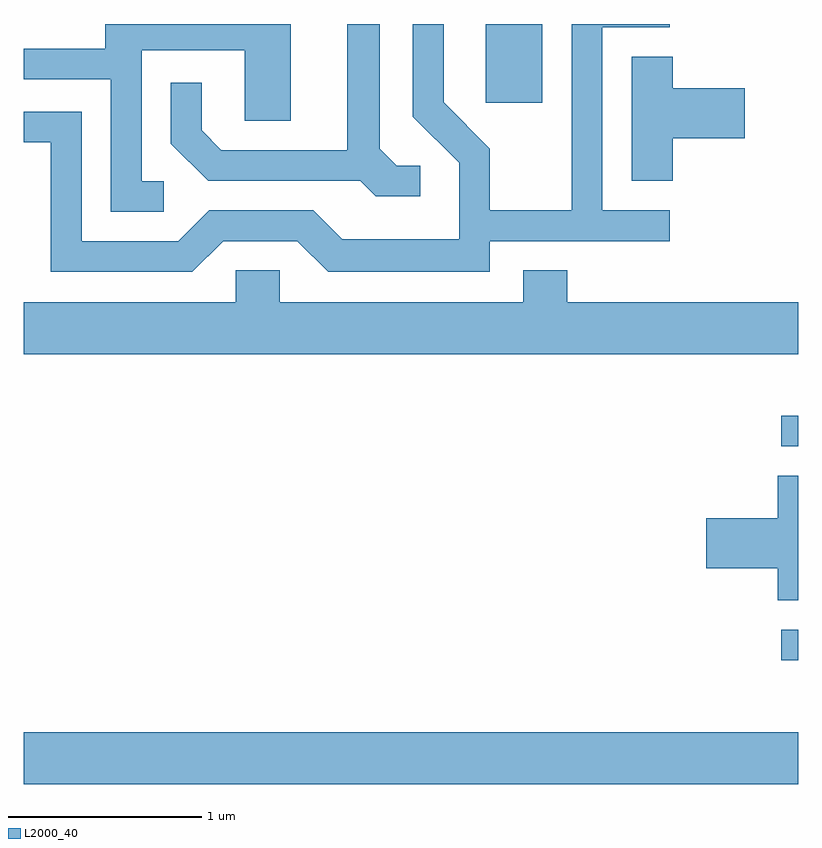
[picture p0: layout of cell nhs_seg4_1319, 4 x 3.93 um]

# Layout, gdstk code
import gdstk
lib = gdstk.Library(unit=1e-6, precision=1e-09)
def R(c, l, rs):  # rectangles x0, y0, x1, y1
    for r in rs: c.add(gdstk.rectangle(r[:2], r[2:], *l))
def P(c, l, *ps):  # polygons
    for p in ps: c.add(gdstk.Polygon(p, *l))
L2000_40 = (2000, 40)

nhs_seg4_1319 = lib.new_cell('nhs_seg4_1319')
R(nhs_seg4_1319, L2000_40, [(223.611,1308.056,227.611,1308.324), (227.523,1308.696,227.611,1308.854), (227.523,1309.801,227.611,1309.959), (225.996,1311.576,226.289,1311.982)])
P(nhs_seg4_1319, L2000_40, [(224.642,1310.861),(225.024,1310.861),(225.184,1310.701),(226.019,1310.701),(226.019,1310.861),(226.948,1310.861),(226.948,1311.019),(226.599,1311.019),(226.599,1311.966),(226.948,1311.966),(226.948,1311.982),(226.441,1311.982),(226.441,1311.019),(226.019,1311.019),(226.019,1311.337),(225.779,1311.577),(225.779,1311.982),(225.621,1311.982),(225.621,1311.504),(225.861,1311.264),(225.861,1310.869),(225.257,1310.869),(225.107,1311.019),(224.569,1311.019),(224.409,1310.859),(223.909,1310.859),(223.909,1311.529),(223.611,1311.529),(223.611,1311.371),(223.751,1311.371),(223.751,1310.701),(224.482,1310.701)],
  [(225.658,1311.249),(225.537,1311.249),(225.449,1311.337),(225.449,1311.982),(225.281,1311.982),(225.281,1311.329),(224.632,1311.329),(224.529,1311.432),(224.529,1311.678),(224.371,1311.678),(224.371,1311.364),(224.564,1311.171),(225.349,1311.171),(225.429,1311.091),(225.658,1311.091)],
  [(224.333,1311.169),(224.219,1311.169),(224.219,1311.846),(224.751,1311.846),(224.751,1311.481),(224.989,1311.481),(224.989,1311.982),(224.031,1311.982),(224.031,1311.854),(223.611,1311.854),(223.611,1311.696),(224.061,1311.696),(224.061,1311.011),(224.333,1311.011)],
  [(226.964,1311.391),(227.334,1311.391),(227.334,1311.649),(226.964,1311.649),(226.964,1311.814),(226.751,1311.814),(226.751,1311.171),(226.964,1311.171)],
  [(227.611,1310.544),(226.419,1310.544),(226.419,1310.709),(226.191,1310.709),(226.191,1310.544),(224.934,1310.544),(224.934,1310.709),(224.706,1310.709),(224.706,1310.544),(223.611,1310.544),(223.611,1310.276),(227.611,1310.276)],
  [(227.611,1309.649),(227.506,1309.649),(227.506,1309.429),(227.136,1309.429),(227.136,1309.171),(227.506,1309.171),(227.506,1309.006),(227.611,1309.006)])

lib.write_gds('nhs_seg4_1319.gds')
